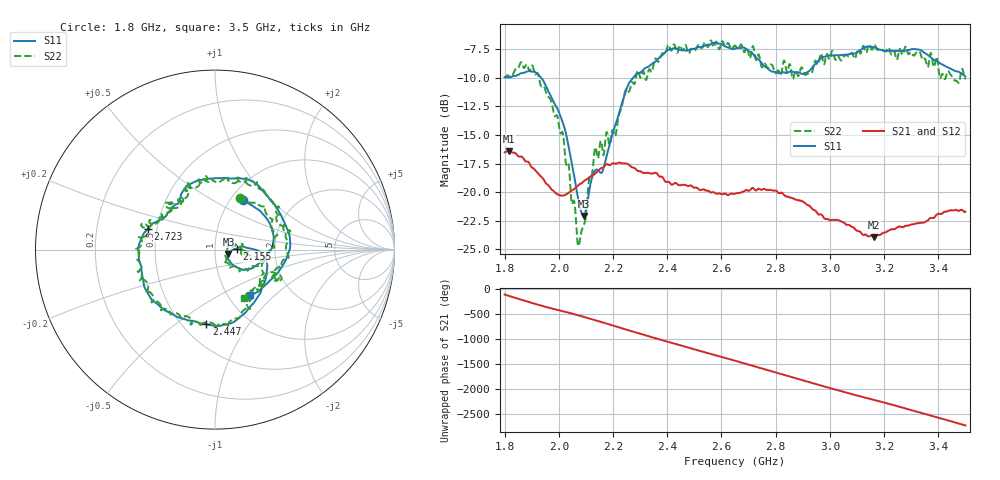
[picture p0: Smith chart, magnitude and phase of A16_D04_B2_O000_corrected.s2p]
! Created with skrf 1.9.0 (http://scikit-rf.org).
# Hz S RI R 50.0
!freq ReS11 ImS11 ReS21 ImS21 ReS12 ImS12 ReS22 ImS22
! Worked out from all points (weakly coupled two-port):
!   1601 points, 1.8 GHz to 3.5 GHz, reference 50 ohm
!   highest |S21| = -16.42 dB at 1.817 GHz (marker M1); lowest = -23.9 dB at 3.163 GHz (marker M2)
!   lowest |S11| = -22.1 dB at 2.092 GHz (marker M3), VSWR 1.17, Z = 58 - j2.92 ohm
!   |S11| at or under -10 dB: 1.935 GHz to 2.274 GHz (339.7 MHz wide, 16.1 % of centre)
!   |S22| runs from -24.7 to -6.7 dB; largest |S21 - S12| = 0.0024
!   S11 on the Smith chart (normalised r, x): 1.8 GHz: 1.13, +0.70; 2.155 GHz: 1.28, +0.01; 2.447 GHz: 0.65, -0.65; 2.723 GHz: 0.44, +0.12; 3.5 GHz: 1.26, -0.71
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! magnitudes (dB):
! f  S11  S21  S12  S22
! 1.8 GHz  -9.9  -16.5  -16.5  -10.0
! 1.817 GHz  -10.0  -16.4  -16.4  -9.9
! 1.902 GHz  -9.5  -17.9  -17.8  -8.9
! 1.968 GHz  -11.5  -19.6  -19.6  -11.8
! 2.022 GHz  -14.5  -20.3  -20.2  -16.6
! 2.071 GHz  -20.5  -19.4  -19.4  -24.7
! 2.084 GHz  -21.8  -19.2  -19.2  -23.4
! 2.092 GHz  -22.1  -19.0  -19.1  -22.8
! 2.13 GHz  -18.2  -18.4  -18.4  -16.6
! 2.155 GHz  -18.3  -17.9  -17.9  -15.5
! 2.209 GHz  -14.1  -17.5  -17.5  -15.1
! 2.258 GHz  -10.5  -17.6  -17.6  -11.2
! 2.367 GHz  -8.3  -18.5  -18.5  -8.6
! 2.447 GHz  -7.6  -19.4  -19.4  -7.2
! 2.65 GHz  -7.5  -20.1  -20.1  -7.2
! 2.723 GHz  -8.1  -19.8  -19.7  -8.1
! 2.807 GHz  -9.6  -20.0  -20.0  -9.4
! 2.934 GHz  -9.1  -21.4  -21.4  -9.5
! 3.163 GHz  -7.3  -23.9  -23.9  -7.2
! 3.217 GHz  -7.6  -23.4  -23.3  -7.4
! 3.331 GHz  -7.6  -22.7  -22.7  -7.7
! 3.5 GHz  -9.9  -21.7  -21.7  -10.0
